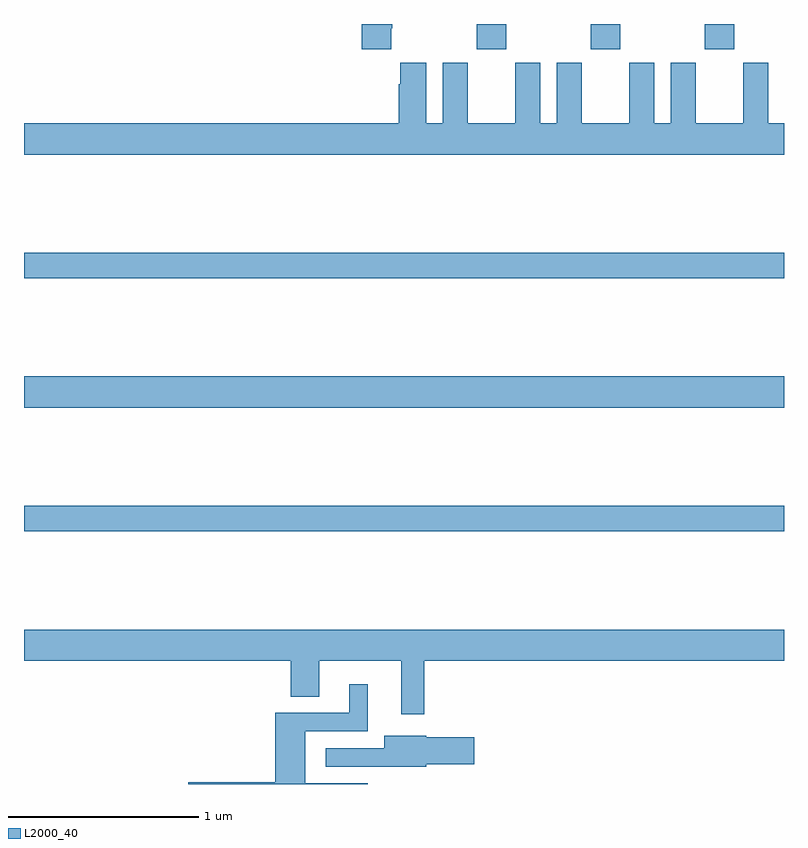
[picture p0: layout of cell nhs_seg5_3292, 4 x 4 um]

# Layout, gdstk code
import gdstk
lib = gdstk.Library(unit=1e-6, precision=1e-09)
def R(c, l, rs):  # rectangles x0, y0, x1, y1
    for r in rs: c.add(gdstk.rectangle(r[:2], r[2:], *l))
def A(c, l, x, y, w, h, nx, ny, dx, dy):  # array of equal rectangles
    R(c, l, [(x+i*dx, y+j*dy, x+i*dx+w, y+j*dy+h) for i in range(nx) for j in range(ny)])
def P(c, l, *ps):  # polygons
    for p in ps: c.add(gdstk.Polygon(p, *l))
L2000_40 = (2000, 40)

nhs_seg5_3292 = lib.new_cell('nhs_seg5_3292')
A(nhs_seg5_3292, L2000_40, 305.383, 838.665, 0.155, 0.134, 3, 1, 0.6, 0)
R(nhs_seg5_3292, L2000_40, [(303,836.128,307,836.264), (303,836.78,307,836.944), (303,837.46,307,837.596)])
P(nhs_seg5_3292, L2000_40, [(304.933,838.777),(304.938,838.777),(304.938,838.799),(304.778,838.799),(304.778,838.665),(304.933,838.665)],
  [(307,838.276),(306.916,838.276),(306.916,838.594),(306.785,838.594),(306.785,838.276),(306.535,838.276),(306.535,838.594),(306.404,838.594),(306.404,838.276),(306.316,838.276),(306.316,838.594),(306.185,838.594),(306.185,838.276),(305.935,838.276),(305.935,838.594),(305.804,838.594),(305.804,838.276),(305.716,838.276),(305.716,838.594),(305.585,838.594),(305.585,838.276),(305.335,838.276),(305.335,838.594),(305.204,838.594),(305.204,838.276),(305.116,838.276),(305.116,838.594),(304.979,838.594),(304.979,838.481),(304.973,838.481),(304.973,838.276),(303,838.276),(303,838.112),(307,838.112)],
  [(305.107,835.448),(307,835.448),(307,835.612),(303,835.612),(303,835.448),(304.403,835.448),(304.403,835.258),(304.555,835.258),(304.555,835.448),(304.985,835.448),(304.985,835.167),(305.107,835.167)],
  [(304.81,834.802),(304.48,834.802),(304.48,835.077),(304.81,835.077),(304.81,835.324),(304.712,835.324),(304.712,835.173),(304.322,835.173),(304.322,834.809),(303.864,834.809),(303.864,834.799),(304.81,834.799)],
  [(305.118,834.902),(305.371,834.902),(305.371,835.044),(305.118,835.044),(305.118,835.054),(304.895,835.054),(304.895,834.987),(304.587,834.987),(304.587,834.891),(304.899,834.891),(304.899,834.89),(305.118,834.89)])

lib.write_gds('nhs_seg5_3292.gds')
